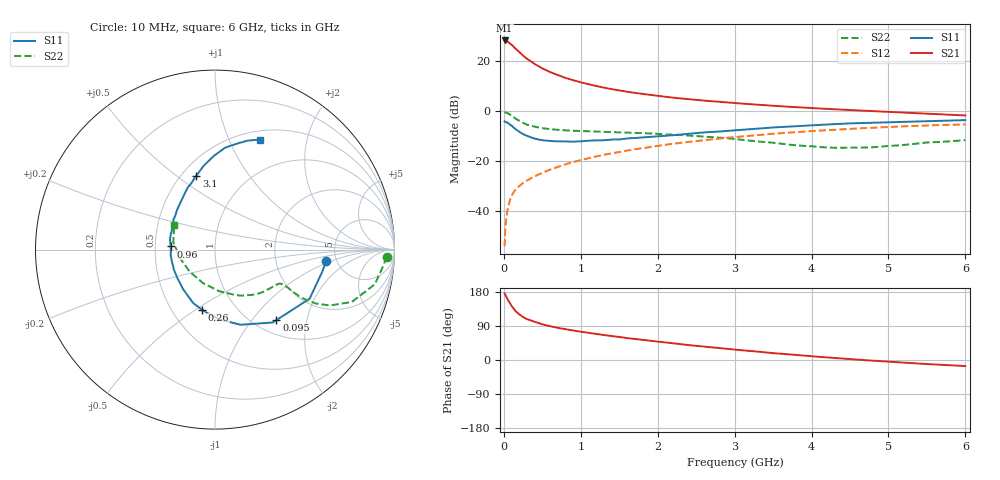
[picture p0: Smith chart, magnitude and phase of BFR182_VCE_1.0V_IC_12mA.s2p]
! Infineon Technologies  Discrete & RF Semiconductors
! BFR182
! VCE =  1.0 V,  IC =  12 mA
! Common Emitter S-Parameters:  Nov 2015
# GHz  S  MA  R  50
!  f  S11  S21  S12  S22
! GHz  MAG  ANG  MAG  ANG  MAG  ANG  MAG  ANG
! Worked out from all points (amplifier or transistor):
!   210 points, 10 MHz to 6 GHz, reference 50 ohm
!   highest |S21| = 28.3 dB at 10 MHz (marker M1)
!   |S21| within 3 dB of that: start of sweep to 143.3 MHz
!   unconditionally stable (mu >= 1): 547.3 MHz to 2.964 GHz
!   at 185 MHz: K = 0.61, MSG = 27.2 dB, |S12| = -30.4 dB
!   at 1.52 GHz: K = 1.09, MAG = 10.3 dB, |S12| = -16.2 dB
!   at 6 GHz: K = 0.94, MSG = 1.8 dB, |S12| = -5.3 dB
!   S11 on the Smith chart (normalised r, x): 10 MHz: 4.10, -0.85; 95 MHz: 1.24, -1.34; 260 MHz: 0.70, -0.53; 960 MHz: 0.60, +0.02; 3.1 GHz: 0.59, +0.59; 6 GHz: 0.60, +1.31
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0.01  0.6216 -5.9  25.93 175.7  0.002 96.4  0.9568 -2.4
0.02  0.611 -11.3  25.71 171.3  0.0049 84.5  0.9443 -5.1
0.05  0.594 -27.4  24.64 159.4  0.011 77.5  0.9114 -12.2
0.095  0.5209 -48.9  21.66 144.4  0.0195 71.3  0.8253 -19.9
0.1  0.518 -51.6  21.43 142.5  0.0204 70.9  0.8168 -20.9
0.15  0.4424 -71.2  17.95 129.1  0.0269 65.4  0.7121 -25.9
0.2  0.3897 -86.6  15.16 120.3  0.0317 64.6  0.6384 -28.1
0.24  0.3549 -97.2  13.32 114.7  0.0357 63.7  0.5939 -28.7
0.26  0.3418 -102.4  12.54 112.2  0.0376 63.7  0.5742 -28.9
0.3  0.3218 -112.2  11.16 107.8  0.041 64.3  0.5398 -29.0
0.4  0.2835 -128.6  8.792 100.5  0.0496 65.4  0.4877 -28.3
0.5  0.2632 -142.6  7.154 94.1  0.0584 66.4  0.457 -27.6
0.6  0.2546 -154.3  6.058 89.1  0.0679 67.3  0.4368 -27.3
0.7  0.2492 -165.0  5.257 84.8  0.0766 67.9  0.4227 -27.2
0.96  0.2479 176.0  3.92 75.9  0.1014 67.8  0.403 -28.3
1.02  0.2516 171.7  3.706 74.0  0.107 67.8  0.3997 -28.8
1.4  0.2719 151.7  2.756 63.3  0.1434 66.1  0.381 -33.2
2.02  0.3157 129.7  2.003 48.1  0.2049 61.2  0.3522 -43.1
3.1  0.4248 104.1  1.416 25.6  0.313 50.0  0.267 -68.8
4.1  0.5321 89.2  1.132 8.3  0.4082 37.8  0.1925 -114.7
5.1  0.608 77.4  0.955 -5.7  0.4907 24.9  0.2056 -172.2
6  0.6622 67.8  0.821 -16.1  0.544 12.4  0.2638 149.2
